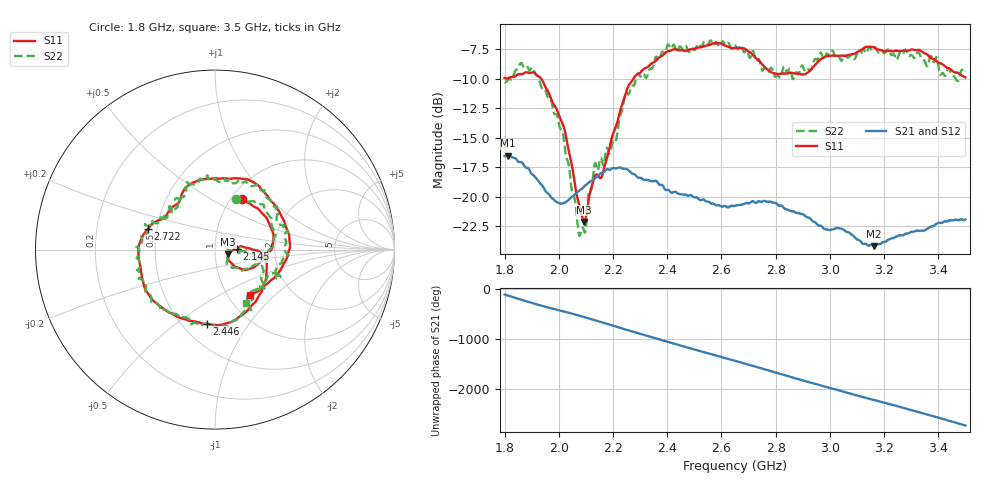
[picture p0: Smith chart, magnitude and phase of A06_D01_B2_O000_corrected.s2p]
! Created with skrf 1.9.0 (http://scikit-rf.org).
# Hz S RI R 50.0
!freq ReS11 ImS11 ReS21 ImS21 ReS12 ImS12 ReS22 ImS22
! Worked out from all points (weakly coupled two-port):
!   1601 points, 1.8 GHz to 3.5 GHz, reference 50 ohm
!   highest |S21| = -16.50 dB at 1.812 GHz (marker M1); lowest = -24.2 dB at 3.163 GHz (marker M2)
!   lowest |S11| = -22.1 dB at 2.093 GHz (marker M3), VSWR 1.17, Z = 57.9 - j3.05 ohm
!   |S11| at or under -10 dB: 1.935 GHz to 2.275 GHz (339.3 MHz wide, 16.1 % of centre)
!   |S22| runs from -23.3 to -6.8 dB; largest |S21 - S12| = 0.0029
!   S11 on the Smith chart (normalised r, x): 1.8 GHz: 1.12, +0.70; 2.145 GHz: 1.28, +0.01; 2.446 GHz: 0.65, -0.66; 2.722 GHz: 0.44, +0.12; 3.5 GHz: 1.26, -0.71
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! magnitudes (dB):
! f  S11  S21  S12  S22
! 1.8 GHz  -9.9  -16.5  -16.5  -10.3
! 1.812 GHz  -10.0  -16.5  -16.5  -10.1
! 1.902 GHz  -9.5  -18.1  -18.1  -9.0
! 1.968 GHz  -11.5  -19.9  -20.0  -11.6
! 2.02 GHz  -14.2  -20.5  -20.5  -15.4
! 2.072 GHz  -20.4  -19.5  -19.6  -22.9
! 2.084 GHz  -21.5  -19.3  -19.3  -22.7
! 2.093 GHz  -22.1  -19.1  -19.2  -22.9
! 2.13 GHz  -18.4  -18.5  -18.5  -17.4
! 2.145 GHz  -18.2  -18.2  -18.2  -17.7
! 2.208 GHz  -14.2  -17.6  -17.6  -15.4
! 2.258 GHz  -10.6  -17.8  -17.8  -11.3
! 2.367 GHz  -8.3  -18.9  -18.8  -8.4
! 2.446 GHz  -7.6  -19.8  -19.8  -7.3
! 2.65 GHz  -7.4  -20.7  -20.7  -7.2
! 2.722 GHz  -8.1  -20.5  -20.4  -8.0
! 2.809 GHz  -9.6  -20.7  -20.6  -9.8
! 2.934 GHz  -9.1  -22.0  -22.0  -9.1
! 3.163 GHz  -7.3  -24.2  -24.1  -7.4
! 3.217 GHz  -7.6  -23.6  -23.6  -7.6
! 3.331 GHz  -7.6  -22.9  -22.9  -7.9
! 3.5 GHz  -9.9  -21.9  -21.9  -9.3
